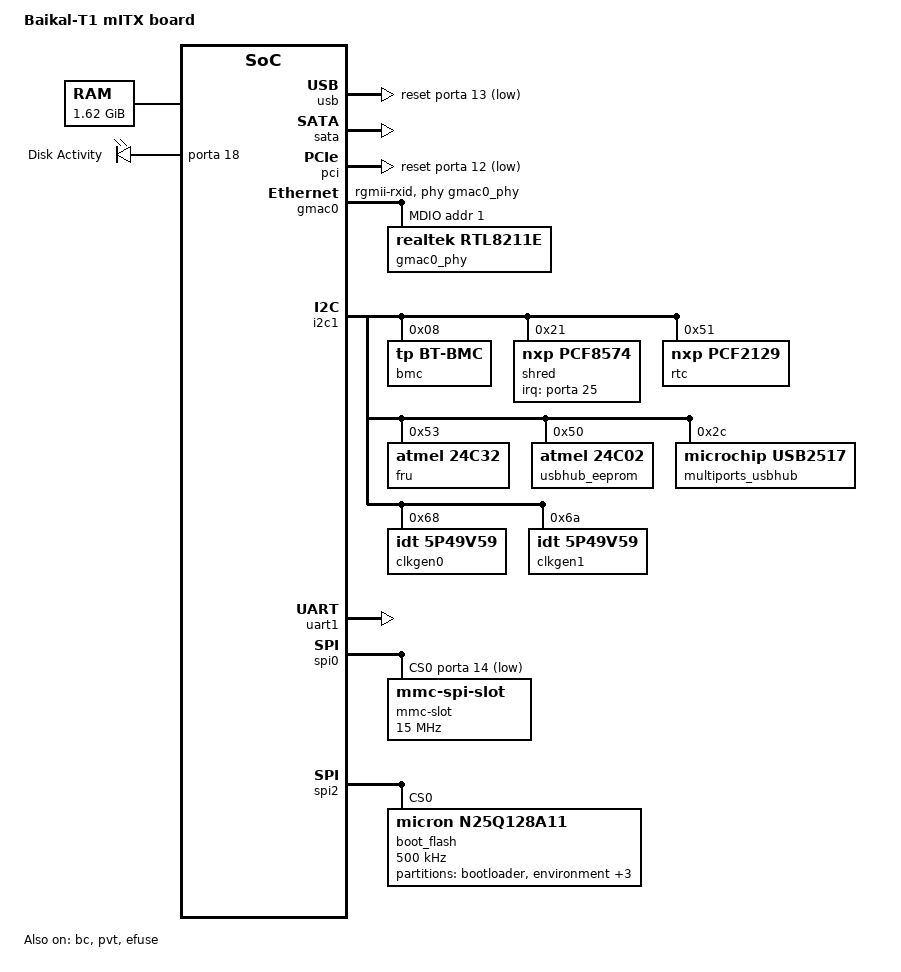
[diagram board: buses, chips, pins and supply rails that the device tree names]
/*
 * Baikal-T1 mITX board device tree
 *
 * Copyright (C) 2017-2018 T-platforms JSC
 *
 * This program is free software; you can redistribute it and/or
 * modify it under the terms of the GNU General Public License
 * as published by the Free Software Foundation; either version 2
 * of the License, or (at your option) any later version.
 */

/dts-v1/;

#include <dt-bindings/interrupt-controller/mips-gic.h>
#include <dt-bindings/gpio/gpio.h>

#include  "baikal_t1_soc.dtsi"
#include  "baikal_mdio.dtsi"

/ {
	model = "Baikal-T1 mITX board";
	compatible = "baikal,mips", "baikal,baikal-t1-soc", "tplatforms,baikal-mitx-board";

	chosen {
		bootargs = "root=/dev/ram rw console=ttyS0,115200 earlyprintk=uart8250,mmio32,0x1F04A000,115200 nohtw";
		linux,initrd-start = <0 0x01000000>;
		linux,initrd-end   = <0 0x02000000>;
	};

	memory {
		device_type = "memory";
		reg = <0 0x00000000 0 0x08000000>,
		      <0 0x20000000 0 0x60000000>;
	};

	reserved-memory {
		#address-cells = <2>;
		#size-cells = <2>;
		ranges;

		display_reserved: framebuffer@0x07000000 {
			reg = <0 0x07000000 0 0x01000000>;
		};
	};

	leds {
		compatible = "gpio-leds";

		hdd {
			label = "Disk Activity";
			gpios = <&porta 18 GPIO_ACTIVE_HIGH>;
			linux,default-trigger = "disk-activity";
		};
	};

	platform_setting {
		sm750,dvi_ddc = <30 31>;
		sm750,crt_ddc = <17 18>;
	};
};

&usb {
	status = "okay";

	reset-gpio = <&porta 13 GPIO_ACTIVE_LOW>;
};

&sata {
	status = "okay";
};

&pci {
	status = "okay";

	/* Reassert sm750 GPU reset */
	reset-gpio = <&porta 12 GPIO_ACTIVE_LOW>;
};

&xgmac {
	status = "disabled";
};

&mdio0 {
	status = "disabled";
};

&gmac0 {
	status = "okay";
	phy-mode = "rgmii-rxid";
	phy-handle = <&gmac0_phy>;
	snps,reset-gp-out;
	snps,reset-active-low;
	snps,reset-delays-us = <0 11000 31000>;

	gmdio0: gmac0_mdio {
		compatible = "snps,dwmac-mdio";
		#address-cells = <1>;
		#size-cells = <0>;

		gmac0_phy: ethernet-phy@1 {
			compatible = "realtek,rtl8211e", "ethernet-phy-id001c.c915";
			reg = <0x1>;
		};
	};
};

&gmac1 {
	status = "disabled";
};

&gpio {
	status = "okay";
};

&gpio3 {
	status = "okay";
};

&bc {
	status = "okay";
};

&i2c0 {
	status = "disabled";
};

&i2c1 {
	status = "okay";

	bmc: bmc@8 {
		compatible = "tp,bt-bmc";
		reg = <0x08>;
	};

	shred: gpio@21 {
		compatible = "nxp,pcf8574";
		reg = <0x21>;
		gpio-controller;
		#gpio-cells = <2>;
		interrupt-parent = <&porta>;
		interrupts = <25 IRQ_TYPE_LEVEL_LOW>;
		interrupt-controller;
		#interrupt-cells = <2>;
		ngpios = <8>; /* Informative */
	};

	rtc: rtc@51 {
		compatible = "nxp,pcf2129", "nxp,pcf2127";
		reg = <0x51>;
	};

	fru: eeprom@53 {
		compatible = "atmel,24c32";
		pagesize = <32>;
		reg = <0x53>;
	};

	usbhub_eeprom: eeprom@50 {
		compatible = "atmel,24c02";
		pagesize = <8>;
		reg = <0x50>;
	};

	multiports_usbhub: usb2517@2c {
		compatible = "microchip,usb2517";
		reg = <0x2c>;

		/* Configs are set by U-boot (if not see doc for details) */
		skip-config;
		/*reset-gpios = <&porta 13 GPIO_ACTIVE_LOW>;
		self-powered;
		multi-tt;
		disable-eop;
		individual-sensing;
		individual-port-switching;
		oc-delay-us = <8000>;
		non-removable-ports = <1>;
		sp-max-total-current-microamp = <100000>;
		bp-max-total-current-microamp = <100000>;
		sp-max-removable-current-microamp = <100000>;
		bp-max-removable-current-microamp = <100000>;
		power-on-time-ms = <100>;*/
        };

	clkgen0: clkgen@68 {
		compatible = "idt,5p49v59";
		reg = <0x68>;
	};

	clkgen1: clkgen@6A {
		compatible = "idt,5p49v59";
		reg = <0x6A>;
	};
};

&uart1 {
	status = "okay";
};

&spi0 {
	status = "okay";
	num-cs = <2>;
	cs-gpios = <&porta 14 GPIO_ACTIVE_LOW>, <0>;

	mmc-slot@0 {
		compatible = "mmc-spi-slot";
		reg = <0>;
		voltage-ranges = <2000 3600>;
		spi-max-frequency = <15000000>;
		/* Card-Detect GPIO (not working at the moment) */
		/* gpios = <&porta 15 GPIO_ACTIVE_LOW>; */
	};
};

&spi1 {
	status = "disabled";
};

&spi2 {
	status = "okay";
	num-cs = <1>;

	boot_flash: n25q128a11@0 {
		#address-cells = <1>;
		#size-cells = <1>;
		compatible = "micron,n25q128a11", "jedec,spi-nor";
		reg = <0>;
		spi-max-frequency = <500000>;
		m25p,fast-read;

		partition@0 {
			label = "bootloader";
			reg = <0x0 0xE0000>;
			read-only;
		};

		partition@1 {
			label = "environment";
			reg = <0xE0000 0x10000>;
		};

		partition@2 {
			label = "information";
			reg = <0xF0000 0x10000>;
			read-only;
		};

		partition@3 {
			label = "multiimage";
			reg = <0x100000 0xF00000>;
			read-only;
		};

		partition@4 {
			label = "firmware";
			reg = <0x0 0x1000000>;
		};
	};
};

&pvt {
	status = "okay";
};

&efuse {
	status = "okay";
};
